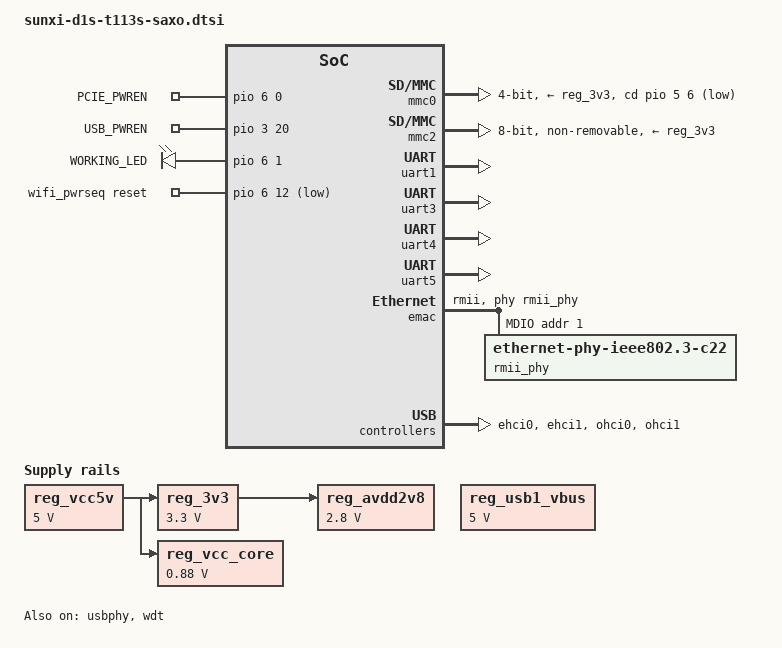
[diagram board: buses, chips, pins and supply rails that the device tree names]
// SPDX-License-Identifier: (GPL-2.0+ OR MIT)
/*
 * Common peripherals and configurations for MangoPi MQ-R boards.
 */

#include <dt-bindings/gpio/gpio.h>
#include <dt-bindings/leds/common.h>

/ {
	aliases {
		ethernet0 = &emac;
		serial0 = &uart0;
		serial1 = &uart1;
		serial3 = &uart3;
		serial4 = &uart4;
		serial5 = &uart5;
	};

	chosen {
		stdout-path = "serial3:115200n8";
	};

	gpio_init {
		compatible = "gpio-leds";

		pcie_enable {
		    label = "PCIE_PWREN";
		    gpios = <&pio 6 0 GPIO_ACTIVE_HIGH>; /* PG0 */
		    default-state = "on";
		};

		usb_enable {
		    label = "USB_PWREN";
		    gpios = <&pio 3 20 GPIO_ACTIVE_HIGH>; /* PD20 */
		    default-state = "on";
		};

		working-led {
		    label = "WORKING_LED";
		    gpios = <&pio 6 1 GPIO_ACTIVE_HIGH>; /* PG1 */
		    default-state = "on";
		};
	};
	    
	/* board wide 5V supply directly from the USB-C socket */
	reg_vcc5v: regulator-5v {
		compatible = "regulator-fixed";
		regulator-name = "vcc-5v";
		regulator-min-microvolt = <5000000>;
		regulator-max-microvolt = <5000000>;
		regulator-always-on;
	};

	/* SY8008 DC/DC regulator on the board */
	reg_3v3: regulator-3v3 {
		compatible = "regulator-fixed";
		regulator-name = "vcc-3v3";
		regulator-min-microvolt = <3300000>;
		regulator-max-microvolt = <3300000>;
		vin-supply = <&reg_vcc5v>;
	};

	/* SY8008 DC/DC regulator on the board, also supplying VDD-SYS */
	reg_vcc_core: regulator-core {
		compatible = "regulator-fixed";
		regulator-name = "vcc-core";
		regulator-min-microvolt = <880000>;
		regulator-max-microvolt = <880000>;
		vin-supply = <&reg_vcc5v>;
	};

	/* XC6206 LDO on the board */
	reg_avdd2v8: regulator-avdd {
		compatible = "regulator-fixed";
		regulator-name = "avdd2v8";
		regulator-min-microvolt = <2800000>;
		regulator-max-microvolt = <2800000>;
		vin-supply = <&reg_3v3>;
	};
	
	reg_usb1_vbus: usb1-vbus {
		compatible = "regulator-fixed";
		regulator-name = "usb1-vbus";
		regulator-min-microvolt = <5000000>;
		regulator-max-microvolt = <5000000>;
		regulator-enable-ramp-delay = <1000>;
		enable-active-high;
		regulator-boot-on;
		regulator-always-on;
	};
		
	wifi_pwrseq: wifi-pwrseq {
		compatible = "mmc-pwrseq-simple";
		reset-gpios = <&pio 6 12 GPIO_ACTIVE_LOW>; /* PG12 */
	};
};

&dcxo {
	clock-frequency = <24000000>;
};


&mmc0 {
	pinctrl-0 = <&mmc0_pins>;
	pinctrl-names = "default";
	vmmc-supply = <&reg_3v3>;
	cd-gpios = <&pio 5 6 GPIO_ACTIVE_LOW>;
	disable-wp;
	bus-width = <4>;
	status = "okay";
};


&mmc2 {
	pinctrl-names = "default";
	pinctrl-0 = <&mmc2_pins>;
	vmmc-supply = <&reg_3v3>;
	bus-width = <8>;
	non-removable;
	cap-mmc-hw-reset;
	status = "okay";
};

&pio {
	vcc-pb-supply = <&reg_3v3>;
	vcc-pd-supply = <&reg_3v3>;
	vcc-pe-supply = <&reg_avdd2v8>;
	vcc-pf-supply = <&reg_3v3>;
	vcc-pg-supply = <&reg_3v3>;
};

&uart1 {        
        pinctrl-names = "default";
        pinctrl-0 = <&uart1_pg6_pins>;
        status = "okay";
};

&uart3 {        
        pinctrl-names = "default";
        pinctrl-0 = <&uart3_pb_pins>;
        status = "okay";
};

&uart4 {        
        pinctrl-names = "default";
        pinctrl-0 = <&uart4_pg_pins>;
        status = "okay";
};

&uart5 {        
        pinctrl-names = "default";
        pinctrl-0 = <&uart5_pg_pins>;
        status = "okay";
};

&emac {
	status = "okay";
	pinctrl-names = "default";
	pinctrl-0 = <&rmii_pe_pins>;
	phy-mode = "rmii";

	clocks = <&ccu CLK_BUS_EMAC>;
	clock-names = "stmmaceth";
	resets = <&ccu RST_BUS_EMAC>;
	reset-names = "stmmaceth";

	phy-handle = <&rmii_phy>;

	mdio {
		compatible = "snps,dwmac-mdio";
		#address-cells = <1>;
		#size-cells = <0>;

		rmii_phy: ethernet-phy@1 {
			reg = <1>;
			compatible = "ethernet-phy-ieee802.3-c22";
		};
	};
};

&ehci0 {
	status = "okay";
};

&ehci1 {
	status = "okay";
};

&ohci0 {
	status = "okay";
};

&ohci1 {
	status = "okay";
};

&usbphy {
	vbus-supply = <&reg_usb1_vbus>;
	status = "okay";
};

&wdt {
	status = "okay";
};
